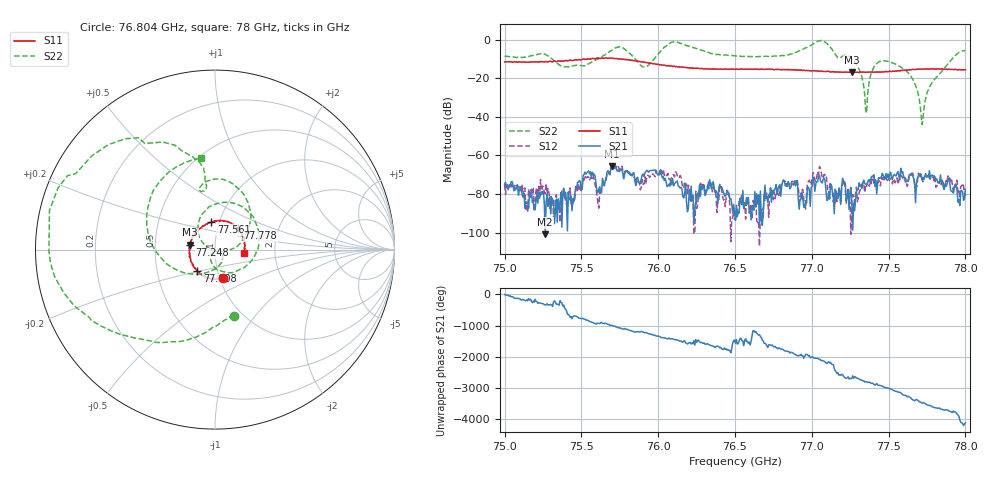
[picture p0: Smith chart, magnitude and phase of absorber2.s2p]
# Hz S MA R 50
! CMT, C4420, 21421029, 25.1.2/3
! Date: 8/4/2025 5:30:14 PM
! Data: Format (Calibration Info)
! Freq	S33:Mag/Ang(F2)	S43:Mag/Ang(F2)	S34:Mag/Ang(F2)	S44:Mag/Ang(F2)
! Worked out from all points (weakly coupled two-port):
!   500 points, 75 GHz to 78 GHz, reference 50 ohm
!   highest |S21| = -65.70 dB at 75.697 GHz (marker M1); lowest = -100.9 dB at 75.265 GHz (marker M2)
!   lowest |S11| = -17.0 dB at 77.261 GHz (marker M3), VSWR 1.33, Z = 37.8 + j2.07 ohm
!   |S11| at or under -10 dB: start of sweep to 75.563 GHz; 75.73883 GHz to 75.75066 GHz (11.83 MHz wide, 0.0156 % of centre); 75.752 GHz to end of sweep
!   |S22| runs from -44.1 to -0.5 dB; largest |S21 - S12| = 0.00028
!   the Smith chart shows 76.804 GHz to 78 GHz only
!   S11 on the Smith chart (normalised r, x): 76.804 GHz: 1.04, -0.34; 77.008 GHz: 0.80, -0.20; 77.248 GHz: 0.75, +0.04; 77.561 GHz: 0.92, +0.29; 77.778 GHz: 1.25, +0.31; 78 GHz: 1.39, -0.05
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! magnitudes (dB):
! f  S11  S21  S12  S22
! 75 GHz  -11.6  -75.0  -75.3  -8.6
! 75.265 GHz  -11.4  -100.9  -79.8  -7.7
! 75.505 GHz  -10.3  -77.6  -75.5  -13.5
! 75.571 GHz  -9.7  -68.7  -71.9  -11.4
! 75.613 GHz  -9.7  -77.5  -87.3  -9.7
! 75.697 GHz  -9.6  -65.7  -66.6  -5.7
! 75.908 GHz  -11.7  -71.0  -74.8  -14.3
! 76.004 GHz  -13.0  -69.5  -70.2  -7.2
! 76.503 GHz  -15.4  -93.6  -93.1  -8.5
! 76.804 GHz  -15.7  -76.1  -74.5  -8.3
! 77.002 GHz  -16.2  -76.0  -72.0  -2.7
! 77.008 GHz  -16.1  -71.3  -68.9  -2.3
! 77.248 GHz  -16.9  -78.9  -84.3  -9.1
! 77.261 GHz  -17.0  -84.2  -84.0  -9.9
! 77.357 GHz  -16.9  -75.1  -76.1  -38.1
! 77.405 GHz  -16.9  -70.0  -74.4  -14.2
! 77.501 GHz  -16.6  -72.6  -73.4  -11.4
! 77.561 GHz  -16.2  -68.4  -74.9  -13.4
! 77.663 GHz  -15.5  -72.0  -71.3  -21.5
! 77.717 GHz  -15.3  -72.5  -72.5  -44.1
! 77.778 GHz  -15.2  -70.5  -71.1  -22.9
! 78 GHz  -15.7  -77.5  -81.0  -5.8
